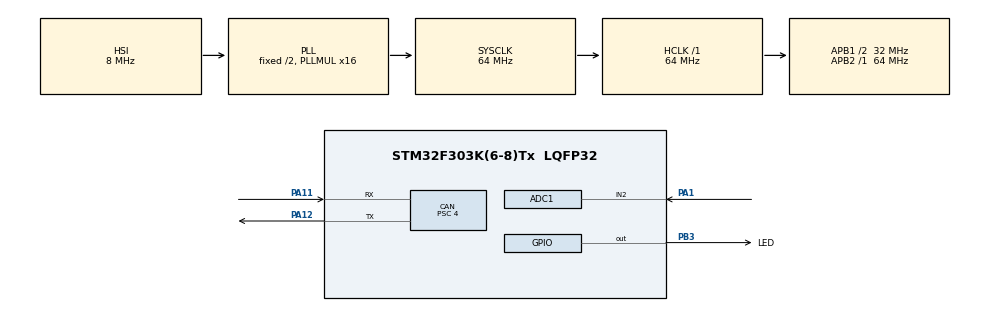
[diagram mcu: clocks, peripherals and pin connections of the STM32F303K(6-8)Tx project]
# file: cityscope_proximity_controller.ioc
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ADC1.Channel-0\#ChannelRegularConversion=ADC_CHANNEL_2
ADC1.NbrOfConversionFlag=1
ADC1.Offset-0\#ChannelRegularConversion=0
ADC1.OffsetNumber-0\#ChannelRegularConversion=ADC_OFFSET_NONE
ADC1.Rank-0\#ChannelRegularConversion=1
ADC1.SamplingTime-0\#ChannelRegularConversion=ADC_SAMPLETIME_1CYCLE_5
ADC1.SamplingTimeOPAMP-0\#ChannelRegularConversion=ADC_SAMPLETIME_61CYCLES_5
ADC1.SubFamily=STM32F303x8
ADC1.master=1
CAN.ABOM=ENABLE
CAN.AWUM=ENABLE
CAN.BS1=CAN_BS1_13TQ
CAN.BS2=CAN_BS2_2TQ
CAN.CalculateBaudRate=500000
CAN.CalculateTimeBit=2000
CAN.CalculateTimeQuantum=125.0
CAN.NART=ENABLE
CAN.Prescaler=4
CAN.RFLM=ENABLE
CAN.SJW=CAN_SJW_2TQ
CAN.TTCM=ENABLE
CAN.TXFP=ENABLE
FREERTOS.Tasks01=SendDistance,40,128,StartSendDistance,Default,NULL,Dynamic,NULL,NULL;canopenTask,48,128,canopen_task,Default,NULL,Dynamic,NULL,NULL
Mcu.Family=STM32F3
Mcu.Name=STM32F303K(6-8)Tx
Mcu.Package=LQFP32
NVIC.CAN_RX0_IRQn=true\:5\:0\:false\:false\:true\:true\:true\:true\:true
NVIC.CAN_RX1_IRQn=true\:5\:0\:false\:false\:true\:true\:true\:true\:true
NVIC.CAN_TX_IRQn=true\:5\:0\:false\:false\:true\:true\:true\:true\:true
NVIC.PriorityGroup=NVIC_PRIORITYGROUP_4
NVIC.TIM1_TRG_COM_TIM17_IRQn=true\:5\:0\:false\:false\:true\:true\:true\:true\:true
NVIC.TIM1_UP_TIM16_IRQn=true\:15\:0\:false\:false\:true\:false\:false\:true\:true
NVIC.TimeBase=TIM1_UP_TIM16_IRQn
NVIC.TimeBaseIP=TIM1
PA1.Mode=IN2-Single-Ended
PA1.Signal=ADC1_IN2
PA11.GPIO_PuPd=GPIO_PULLUP
PA11.Mode=CAN_Activate
PA11.Signal=CAN_RX
PA12.Mode=CAN_Activate
PA12.Signal=CAN_TX
PA13.Mode=Serial_Wire
PA13.Signal=SYS_JTMS-SWDIO
PA14.Mode=Serial_Wire
PA14.Signal=SYS_JTCK-SWCLK
PB3.GPIO_Label=LED
PB3.Signal=GPIO_Output
ProjectManager.HeapSize=0x200
ProjectManager.StackSize=0x400
ProjectManager.TargetToolchain=Makefile
RCC.AHBFreq_Value=64000000
RCC.APB1CLKDivider=RCC_HCLK_DIV2
RCC.APB1Freq_Value=32000000
RCC.APB1TimFreq_Value=64000000
RCC.APB2Freq_Value=64000000
RCC.APB2TimFreq_Value=64000000
RCC.CortexFreq_Value=64000000
RCC.HCLKFreq_Value=64000000
RCC.HSE_VALUE=8000000
RCC.HSI_VALUE=8000000
RCC.PLLMUL=RCC_PLL_MUL16
RCC.SYSCLKFreq_VALUE=64000000
RCC.SYSCLKSourceVirtual=RCC_SYSCLKSOURCE_PLLCLK
TIM17.Period=1000
TIM17.Prescaler=63
VP_FREERTOS_VS_CMSIS_V2.Mode=CMSIS_V2
VP_SYS_VS_tim1.Mode=TIM1
VP_TIM17_VS_ClockSourceINT.Mode=Enable_Timer
VP_TIM3_VS_ClockSourceINT.Mode=Internal
board=custom

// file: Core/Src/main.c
/* USER CODE BEGIN Header */
/**
 ******************************************************************************
 * @file           : main.c
 * @brief          : Main program body
 ******************************************************************************
 * @attention
 *
 * Copyright (c) 2023 STMicroelectronics.
 * All rights reserved.
 *
 * This software is licensed under terms that can be found in the LICENSE file
 * in the root directory of this software component.
 * If no LICENSE file comes with this software, it is provided AS-IS.
 *
 ******************************************************************************
 */
/* USER CODE END Header */
#include "main.h"
#include "cmsis_os.h"
#include "adc.h"
#include "can.h"
#include "tim.h"
#include "gpio.h"

/* USER CODE BEGIN Includes */
#include "CO_app_STM32.h"
/* USER CODE END Includes */

void SystemClock_Config(void);
void MX_FREERTOS_Init(void);
/* USER CODE BEGIN PFP */
uint32_t get_NodeID(void);
uint32_t NodeID[1];
/* USER CODE END PFP */

int main(void)
{

  /* MCU Configuration--------------------------------------------------------*/

  /* Reset of all peripherals, Initializes the Flash interface and the Systick. */
  HAL_Init();

  /* Configure the system clock */
  SystemClock_Config();

  /* Initialize all configured peripherals */
  MX_GPIO_Init();
  MX_CAN_Init();
  MX_TIM17_Init();
  MX_ADC1_Init();
  MX_TIM3_Init();

  /* Init scheduler */
  osKernelInitialize();  /* Call init function for freertos objects (in freertos.c) */
  MX_FREERTOS_Init();

  /* Start scheduler */
  osKernelStart();

  /* We should never get here as control is now taken by the scheduler */
  /* Infinite loop */
  while (1)
  {

  }
}

void SystemClock_Config(void)
{
  RCC_OscInitTypeDef RCC_OscInitStruct = {0};
  RCC_ClkInitTypeDef RCC_ClkInitStruct = {0};
  RCC_PeriphCLKInitTypeDef PeriphClkInit = {0};

  /** Initializes the RCC Oscillators according to the specified parameters
  * in the RCC_OscInitTypeDef structure.
  */
  RCC_OscInitStruct.OscillatorType = RCC_OSCILLATORTYPE_HSI;
  RCC_OscInitStruct.HSIState = RCC_HSI_ON;
  RCC_OscInitStruct.HSICalibrationValue = RCC_HSICALIBRATION_DEFAULT;
  RCC_OscInitStruct.PLL.PLLState = RCC_PLL_ON;
  RCC_OscInitStruct.PLL.PLLSource = RCC_PLLSOURCE_HSI;
  RCC_OscInitStruct.PLL.PLLMUL = RCC_PLL_MUL16;
  if (HAL_RCC_OscConfig(&RCC_OscInitStruct) != HAL_OK)
  {
    Error_Handler();
  }

  /** Initializes the CPU, AHB and APB buses clocks
  */
  RCC_ClkInitStruct.ClockType = RCC_CLOCKTYPE_HCLK|RCC_CLOCKTYPE_SYSCLK
                              |RCC_CLOCKTYPE_PCLK1|RCC_CLOCKTYPE_PCLK2;
  RCC_ClkInitStruct.SYSCLKSource = RCC_SYSCLKSOURCE_PLLCLK;
  RCC_ClkInitStruct.AHBCLKDivider = RCC_SYSCLK_DIV1;
  RCC_ClkInitStruct.APB1CLKDivider = RCC_HCLK_DIV2;
  RCC_ClkInitStruct.APB2CLKDivider = RCC_HCLK_DIV1;

  if (HAL_RCC_ClockConfig(&RCC_ClkInitStruct, FLASH_LATENCY_2) != HAL_OK)
  {
    Error_Handler();
  }
  PeriphClkInit.PeriphClockSelection = RCC_PERIPHCLK_ADC12;
  PeriphClkInit.Adc12ClockSelection = RCC_ADC12PLLCLK_DIV1;
  if (HAL_RCCEx_PeriphCLKConfig(&PeriphClkInit) != HAL_OK)
  {
    Error_Handler();
  }
}

/* USER CODE BEGIN 4 */
uint32_t get_NodeID(void)
{
  return NodeID[0];
}
/* USER CODE END 4 */

void HAL_TIM_PeriodElapsedCallback(TIM_HandleTypeDef *htim)
{
  if (htim->Instance == TIM1) {
    HAL_IncTick();
  }
  /* USER CODE BEGIN Callback 1 */
  if (htim == canopenNodeSTM32->timerHandle)
  {
    canopen_app_interrupt();
  }
  /* USER CODE END Callback 1 */
}

void Error_Handler(void)
{
  __disable_irq();
  while (1)
  {
  }
}

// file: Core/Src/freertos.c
/* USER CODE BEGIN Header */
/**
 ******************************************************************************
 * File Name          : freertos.c
 * Description        : Code for freertos applications
 ******************************************************************************
 * @attention
 *
 * Copyright (c) 2023 STMicroelectronics.
 * All rights reserved.
 *
 * This software is licensed under terms that can be found in the LICENSE file
 * in the root directory of this software component.
 * If no LICENSE file comes with this software, it is provided AS-IS.
 *
 ******************************************************************************
 */
/* USER CODE END Header */

#include "FreeRTOS.h"
#include "task.h"
#include "main.h"
#include "cmsis_os.h"

/* USER CODE BEGIN Includes */
#include "CO_app_STM32.h"
#include "OD.h"
#include "tim.h"
#include "comment.h"
#include "can.h"
#include "adc.h"
#define portTICK_RATE_MS portTICK_PERIOD_MS
#define portTICK_PERIOD_MS ((TickType_t)1000 / configTICK_RATE_HZ)

double steering_value = 0;
volatile voltage = 0;
/* USER CODE END Includes */

/* Definitions for SendDistance */
osThreadId_t SendDistanceHandle;
const osThreadAttr_t SendDistance_attributes = {
    .name = "SendDistance",
    .stack_size = 128 * 4,
    .priority = (osPriority_t)osPriorityHigh,
};
/* Definitions for canopenTask */
osThreadId_t canopenTaskHandle;
const osThreadAttr_t canopenTask_attributes = {
    .name = "canopenTask",
    .stack_size = 128 * 4,
    .priority = (osPriority_t)osPriorityRealtime,
};

void StartSendDistance(void *argument);
void canopen_task(void *argument);
void MX_FREERTOS_Init(void); /* (MISRA C 2004 rule 8.1) */

void MX_FREERTOS_Init(void)
{

  /* Create the thread(s) */
  /* creation of SendDistance */
  SendDistanceHandle = osThreadNew(StartSendDistance, NULL, &SendDistance_attributes);
  /* creation of canopenTask */
  canopenTaskHandle = osThreadNew(canopen_task, NULL, &canopenTask_attributes);

}

void StartSendDistance(void *argument)
{
  /* USER CODE BEGIN StartSendDistance */
  /* Infinite loop */
  for (;;)
  {
    OD_set_u16(OD_find(OD, 0x6000), 0x000, OD_PERSIST_COMM.x6000_steering, false);
    CO_TPDOsendRequest(&canopenNodeSTM32->canOpenStack->TPDO[0]);
    osDelay(300);
  }
  /* USER CODE END StartSendDistance */
}

void canopen_task(void *argument)
{
  /* USER CODE BEGIN canopen_task */
  CANopenNodeSTM32 canOpenNodeSTM32;
  canOpenNodeSTM32.CANHandle = &hcan;
  canOpenNodeSTM32.HWInitFunction = MX_CAN_Init;
  canOpenNodeSTM32.timerHandle = &htim17;
  canOpenNodeSTM32.desiredNodeID = 17;
  canOpenNodeSTM32.baudrate = 125;
  canopen_app_init(&canOpenNodeSTM32);
  /* Infinite loop */
  for (;;)
  {
    canopen_app_process();
    HAL_ADC_Start(&hadc1);
    HAL_ADC_PollForConversion(&hadc1, 1);
    voltage = HAL_ADC_GetValue(&hadc1);
    voltage = ((voltage / 4096) * 3.3);
    steering_value = (voltage * 22.5) - 45;
    steering_value *= 100;
    OD_PERSIST_COMM.x6000_steering = steering_value;
    vTaskDelay(1);
  }
  /* USER CODE END canopen_task */
}
